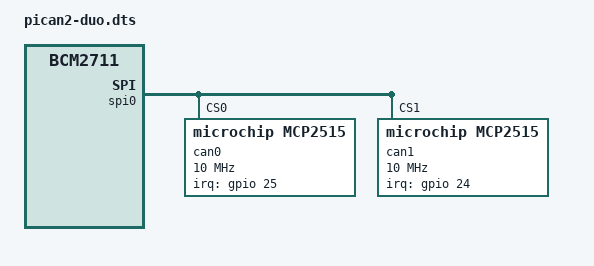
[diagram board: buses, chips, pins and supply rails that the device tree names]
/dts-v1/;
/plugin/;

/ {
    compatible = "brcm,bcm2711";

    fragment@0 {
        target = <&spi0>;
        __overlay__ {
            status = "okay";
        };
    };

    fragment@1 {
        target = <&spidev0>;
        __overlay__ {
            status = "disabled";
        };
    };

    fragment@2 {
        target = <&spidev1>;
        __overlay__ {
            status = "disabled";
        };
    };

    fragment@3 {
        target = <&spi0>;
        __overlay__ {
            #address-cells = <1>;
            #size-cells = <0>;

            can0: mcp2515@0 {
                compatible = "microchip,mcp2515";
                reg = <0>;
                pinctrl-names = "default";
                spi-max-frequency = <10000000>;
                interrupt-parent = <&gpio>;
                interrupts = <25 8>; /* GPIO 25, active low */
                oscillator-frequency = <16000000>;
                status = "okay";
            };
        };
    };

    fragment@4 {
        target = <&spi0>;
        __overlay__ {
            #address-cells = <1>;
            #size-cells = <0>;

            can1: mcp2515@1 {
                compatible = "microchip,mcp2515";
                reg = <1>;
                pinctrl-names = "default";
                spi-max-frequency = <10000000>;
                interrupt-parent = <&gpio>;
                interrupts = <24 8>; /* GPIO 24, active low */
                oscillator-frequency = <16000000>;
                status = "okay";
            };
        };
    };
};
